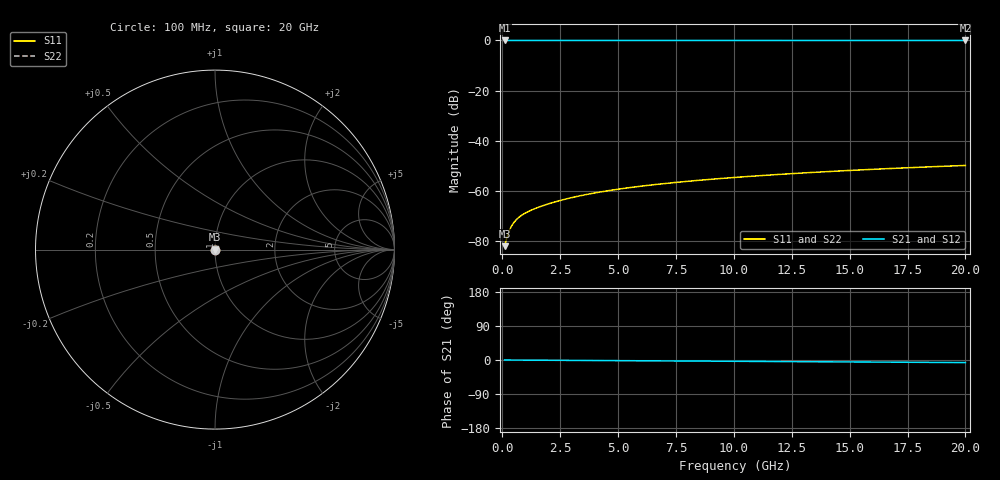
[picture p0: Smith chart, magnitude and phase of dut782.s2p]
! Touchstone file exported from HFSS 2026.1.0
!  File:  C:/ffzhzh/LocalFiles/Ansys_Project_Files/temp_train_TSV_782_1783183701_55132.aedt
!  Generated:  12:49:42 AM Jul  5, 2026
!  Design:  TSV
!  Project:  temp_train_TSV_782_1783183701_55132
! Variables:
!  h_bsmrdl = 2um
!  h_ox = 20um
!  h_rdl = 5um
!  h_sub = 63.05um
!  h_tmrdl = 5um
!  h_tsv = 63.05um
!  h_via = 3um
!  l_bsmrdl = 300um
!  l_sub = 428.88um
!  l_tmrdl = 200um
!  m_sub = 200um
!  pitch = 58.45um
!  r_tsv = 14.44um
!  s_tmrdl = 10um
!  w_bsmrdl = 18um
!  w_sub = 500um
!  w_tmrdl = 12um
!  x_tsv_center1 = 206um
!  x_tsv_center2 = 524um
!  x_tsv_center3 = 736um
!  x_tsv_center4 = 1054um
!  x_tsv_center5 = 1266um
!  x_tsv_center6 = 1584um
# GHz S MA R 50.000000
! Terminal data exported
! Port[1] = TSV1_1_T1
! Port[2] = TSV1_1_T2
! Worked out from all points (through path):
!   200 points, 100 MHz to 20 GHz, reference 50 ohm
!   highest |S21| = 0.00 dB at 100 MHz (marker M1); lowest = 0.0 dB at 20 GHz (marker M2)
!   lowest |S11| = -82.0 dB at 100 MHz (marker M3), VSWR 1.00, Z = 50 + j0.00481 ohm
!   |S11| at or under -10 dB: start of sweep to end of sweep
!   |S22| runs from -82.0 to -49.8 dB; largest |S21 - S12| = 3.4e-15
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0.1  7.928e-05 37.4  0.9999 -0.0  0.9999 -0.0  7.928e-05 37.4
! Gamma 0 0 0 0
! Port Impedance 50 0 50 0
0.2  0.0001189 51.7  0.9999 -0.1  0.9999 -0.1  0.0001189 51.7
0.3  0.0001607 56.3  0.9999 -0.1  0.9999 -0.1  0.0001607 56.3
0.4  0.0001996 57.6  0.9999 -0.1  0.9999 -0.1  0.0001996 57.6
0.5  0.0002346 57.7  0.9999 -0.2  0.9999 -0.2  0.0002346 57.7
0.6  0.0002657 57.5  0.9999 -0.2  0.9999 -0.2  0.0002657 57.5
0.7  0.0002935 57.3  0.9998 -0.2  0.9998 -0.2  0.0002935 57.3
0.9  0.000342 57.1  0.9998 -0.3  0.9998 -0.3  0.000342 57.1
1.1  0.0003844 57.4  0.9998 -0.4  0.9998 -0.4  0.0003844 57.4
1.3  0.0004238 58.1  0.9998 -0.5  0.9998 -0.5  0.0004238 58.1
1.9  0.0005357 60.5  0.9997 -0.7  0.9997 -0.7  0.0005357 60.5
2.6  0.0006639 62.9  0.9997 -0.9  0.9997 -0.9  0.0006639 62.9
3.5  0.0008261 64.8  0.9997 -1.2  0.9997 -1.2  0.0008261 64.8
4.2  0.0009484 65.7  0.9996 -1.4  0.9996 -1.4  0.0009485 65.7
5  0.001084 66.5  0.9996 -1.7  0.9996 -1.7  0.001084 66.5
5.9  0.001231 67.0  0.9996 -2.0  0.9996 -2.0  0.001231 67.0
6.8  0.001373 67.5  0.9995 -2.3  0.9995 -2.3  0.001373 67.5
8.3  0.001602 68.1  0.9995 -2.8  0.9995 -2.8  0.001602 68.1
10.1  0.001869 68.6  0.9994 -3.4  0.9994 -3.4  0.001869 68.6
13.4  0.002341 69.0  0.9993 -4.6  0.9993 -4.6  0.002341 69.0
16.7  0.002794 69.0  0.9993 -5.7  0.9993 -5.7  0.002795 68.9
20  0.003225 68.6  0.9992 -6.8  0.9992 -6.8  0.003225 68.6
